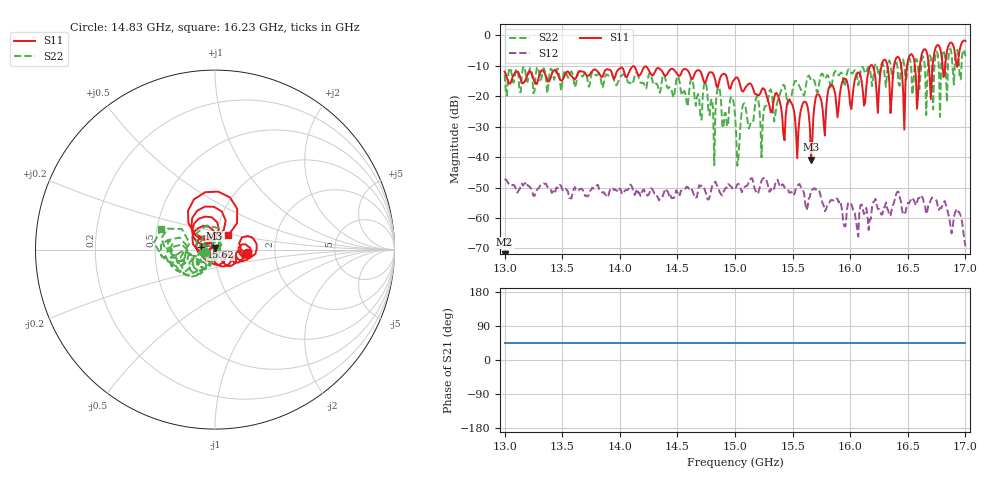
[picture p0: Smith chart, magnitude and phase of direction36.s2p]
!Keysight Technologies,P9374A,MY57211810,A.19.30.04
!Date: Friday, May 02, 2025 09:03:29
!Correction: S11(Off)
!S21(Off)
!S12(Off)
!S22(Off)
!S2P File: Measurements: S11, S21, S12, S22:
# Hz S  dB  R 50
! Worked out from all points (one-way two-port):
!   401 points, 13 GHz to 17 GHz, reference 50 ohm
!   highest |S21| = - dB at 13 GHz (marker M1); lowest = - dB at 13 GHz (marker M2)
!   lowest |S11| = -40.8 dB at 15.66 GHz (marker M3), VSWR 1.02, Z = 49.7 + j0.87 ohm
!   |S11| at or under -10 dB: start of sweep to 16.18 GHz; 16.19342 GHz to 16.27229 GHz (78.87 MHz wide, 0.486 % of centre); 16.323 GHz to 16.38058 GHz (57.58 MHz wide, 0.352 % of centre) (the widest 3 of 8)
!   |S22| runs from -42.9 to -4.4 dB; largest |S21 - S12| = 0.0046
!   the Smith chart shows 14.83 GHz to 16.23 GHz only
!   S11 on the Smith chart (normalised r, x): 14.83 GHz: 1.44, -0.05; 15.62 GHz: 0.86, +0.02; 16.23 GHz: 1.14, +0.19
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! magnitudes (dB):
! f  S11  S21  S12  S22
! 13 GHz  -11.9  -  -47.4  -12.9
! 13.67 GHz  -11.9  -  -50.4  -13.4
! 14.34 GHz  -10.8  -  -54.2  -18.4
! 14.83 GHz  -14.9  -  -48.0  -25.1
! 14.86 GHz  -15.6  -  -50.8  -16.9
! 15 GHz  -14.2  -  -50.4  -25.8
! 15.03 GHz  -14.5  -  -48.8  -40.1
! 15.08 GHz  -17.9  -  -49.8  -22.3
! 15.24 GHz  -17.4  -  -47.2  -29.0
! 15.42 GHz  -32.6  -  -49.1  -16.3
! 15.48 GHz  -21.6  -  -51.7  -20.8
! 15.54 GHz  -40.3  -  -49.4  -15.4
! 15.62 GHz  -22.3  -  -57.4  -15.5
! 15.66 GHz  -40.8  -  -50.9  -14.8
! 15.67 GHz  -35.6  -  -50.8  -15.0
! 15.71 GHz  -19.4  -  -50.4  -18.7
! 15.83 GHz  -16.3  -  -54.1  -17.6
! 16.23 GHz  -19.3  -  -55.7  -9.8
! 16.3 GHz  -8.0  -  -56.5  -13.7
! 16.34 GHz  -15.6  -  -59.3  -8.2
! 16.73 GHz  -5.7  -  -53.7  -11.0
! 17 GHz  -1.9  -  -69.3  -6.9
